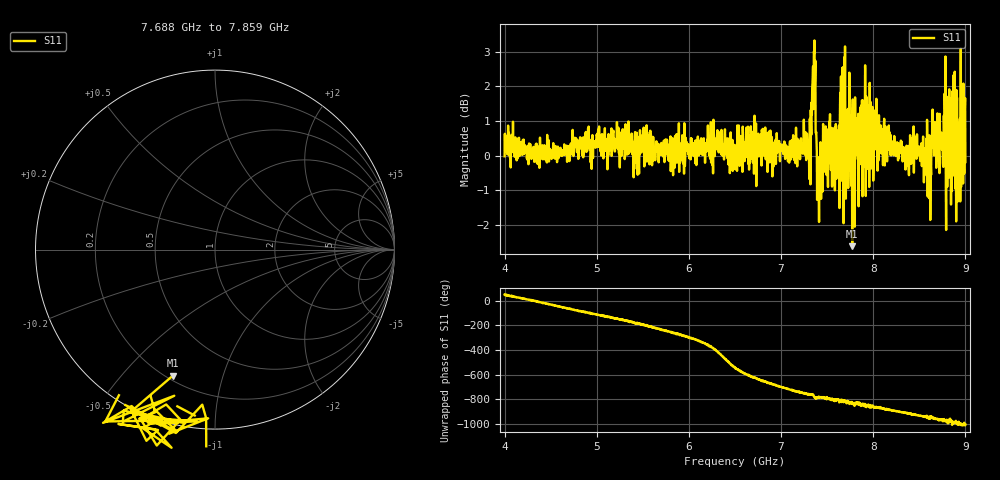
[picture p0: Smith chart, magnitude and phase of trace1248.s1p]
! Created with skrf 1.8.0 (http://scikit-rf.org).
# Hz S RI R 50.0
!freq ReS11 ImS11
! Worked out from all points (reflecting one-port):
!   1601 points, 4 GHz to 9 GHz, reference 50 ohm
!   lowest |S11| = -2.6 dB at 7.772 GHz (marker M1), VSWR 6.70, Z = 11.2 - j34.8 ohm
!   phase of S11 starts at 49 deg and turns -1054 deg over the sweep
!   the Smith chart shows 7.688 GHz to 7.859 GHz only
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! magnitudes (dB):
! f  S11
! 4 GHz  0.0
! 4.625 GHz  0.0
! 5.25 GHz  -0.3
! 5.875 GHz  0.1
! 6.328 GHz  0.7
! 6.5 GHz  0.2
! 7.125 GHz  0.4
! 7.294 GHz  -0.1
! 7.347 GHz  2.6
! 7.362 GHz  3.3
! 7.4 GHz  0.0
! 7.412 GHz  -1.9
! 7.509 GHz  -0.9
! 7.609 GHz  -0.3
! 7.669 GHz  2.0
! 7.703 GHz  -1.2
! 7.75 GHz  0.1
! 7.772 GHz  -2.6
! 7.928 GHz  0.7
! 7.981 GHz  -0.4
! 8.375 GHz  -0.2
! 8.606 GHz  -1.2
! 8.656 GHz  0.7
! 8.738 GHz  0.5
! 8.819 GHz  -0.6
! 8.919 GHz  0.2
! 8.972 GHz  0.6
! 9 GHz  -0.2
